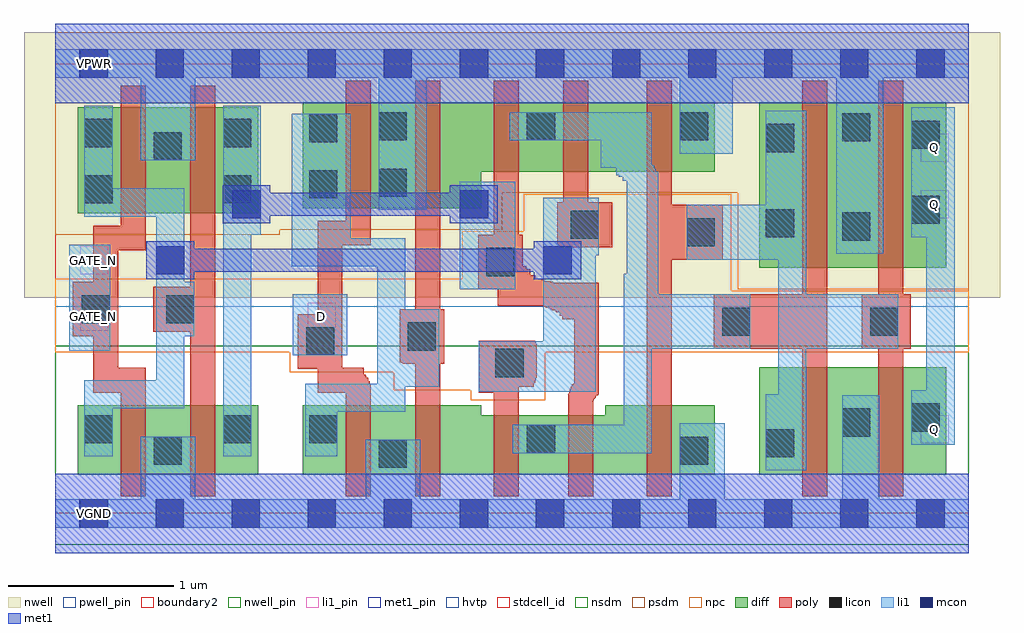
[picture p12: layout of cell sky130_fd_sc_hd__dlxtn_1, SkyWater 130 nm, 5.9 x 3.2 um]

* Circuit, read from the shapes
.subckt sky130_fd_sc_hd__dlxtn_1 D GATE_N Q VGND VNB VPB VPWR
XM1 VGND GATE_N n1 VNB sky130_fd_pr__nfet_01v8 w=0.42 l=0.15
XM2 n2 n1 VGND VNB sky130_fd_pr__nfet_01v8 w=0.42 l=0.15
XM3 VGND D n3 VNB sky130_fd_pr__nfet_01v8 w=0.42 l=0.15
XM4 n4 n3 VGND VNB sky130_fd_pr__nfet_01v8 w=0.42 l=0.15
XM5 n5 n1 n4 VNB sky130_fd_pr__nfet_01v8 w=0.36 l=0.15
XM6 n6 n2 n5 VNB sky130_fd_pr__nfet_01v8 w=0.36 l=0.15
XM7 VGND n7 n6 VNB sky130_fd_pr__nfet_01v8 w=0.42 l=0.15
XM8 VGND n5 n7 VNB sky130_fd_pr__nfet_01v8 w=0.65 l=0.15
XM9 Q n7 VGND VNB sky130_fd_pr__nfet_01v8 w=0.65 l=0.15
XM10 VPWR GATE_N n1 VPB sky130_fd_pr__pfet_01v8_hvt w=0.64 l=0.15
XM11 n2 n1 VPWR VPB sky130_fd_pr__pfet_01v8_hvt w=0.64 l=0.15
XM12 VPWR D n3 VPB sky130_fd_pr__pfet_01v8_hvt w=0.64 l=0.15
XM13 n8 n3 VPWR VPB sky130_fd_pr__pfet_01v8_hvt w=0.64 l=0.15
XM14 n5 n2 n8 VPB sky130_fd_pr__pfet_01v8_hvt w=0.42 l=0.15
XM15 n9 n1 n5 VPB sky130_fd_pr__pfet_01v8_hvt w=0.42 l=0.15
XM16 VPWR n7 n9 VPB sky130_fd_pr__pfet_01v8_hvt w=0.42 l=0.15
XM17 VPWR n5 n7 VPB sky130_fd_pr__pfet_01v8_hvt w=1 l=0.15
XM18 Q n7 VPWR VPB sky130_fd_pr__pfet_01v8_hvt w=1 l=0.15
.ends

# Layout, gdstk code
import gdstk
lib = gdstk.Library(unit=1e-6, precision=1e-09)
def R(c, l, rs):  # rectangles x0, y0, x1, y1
    for r in rs: c.add(gdstk.rectangle(r[:2], r[2:], *l))
def A(c, l, x, y, w, h, nx, ny, dx, dy):  # array of equal rectangles
    R(c, l, [(x+i*dx, y+j*dy, x+i*dx+w, y+j*dy+h) for i in range(nx) for j in range(ny)])
def P(c, l, *ps):  # polygons
    for p in ps: c.add(gdstk.Polygon(p, *l))
nwell_pin = (64, 16)
nwell = (64, 20)
diff = (65, 20)
poly = (66, 20)
licon = (66, 44)
li1_pin = (67, 16)
li1 = (67, 20)
mcon = (67, 44)
met1_pin = (68, 16)
met1 = (68, 20)
hvtp = (78, 44)
stdcell_id = (81, 4)
nsdm = (93, 44)
psdm = (94, 20)
npc = (95, 20)
pwell_pin = (122, 16)
boundary2 = (236, 0)

sky130_fd_sc_hd__dlxtn_1 = lib.new_cell('sky130_fd_sc_hd__dlxtn_1')
R(sky130_fd_sc_hd__dlxtn_1, nwell_pin, [(0.15,2.635,0.32,2.805), (0.15,2.635,0.32,2.805)])
R(sky130_fd_sc_hd__dlxtn_1, nwell, [(-0.19,1.305,5.71,2.91)])
R(sky130_fd_sc_hd__dlxtn_1, diff, [(0.135,0.235,1.225,0.655), (4.255,0.235,5.385,0.885), (4.255,1.485,5.385,2.485), (0.135,1.815,1.225,2.455)])
P(sky130_fd_sc_hd__dlxtn_1, diff, [(3.985,2.485),(1.495,2.485),(1.495,1.845),(2.575,1.845),(2.575,2.065),(3.985,2.065)],
  [(3.985,0.655),(3.325,0.655),(3.325,0.595),(2.575,0.595),(2.575,0.655),(1.495,0.655),(1.495,0.235),(3.985,0.235)])
P(sky130_fd_sc_hd__dlxtn_1, poly, [(0.545,0.88),(0.38,0.88),(0.38,1.59),(0.545,1.59),(0.545,2.585),(0.395,2.585),(0.395,1.74),(0.23,1.74),(0.23,1.4),(0.105,1.4),(0.105,1.07),(0.23,1.07),(0.23,0.73),(0.395,0.73),(0.395,0.105),(0.545,0.105)],
  [(0.965,2.585),(0.815,2.585),(0.815,1.37),(0.59,1.37),(0.59,1.1),(0.815,1.1),(0.815,0.105),(0.965,0.105)],
  [(1.905,0.785),(1.9,0.785),(1.9,0.8),(1.89,0.8),(1.89,0.82),(1.88,0.82),(1.88,0.83),(1.875,0.83),(1.875,0.84),(1.865,0.84),(1.865,0.88),(1.735,0.88),(1.735,1.62),(1.905,1.62),(1.905,2.615),(1.755,2.615),(1.755,1.77),(1.585,1.77),(1.585,1.205),(1.465,1.205),(1.465,0.875),(1.585,0.875),(1.585,0.73),(1.755,0.73),(1.755,0.105),(1.905,0.105)],
  [(4.665,2.615),(4.515,2.615),(4.515,1.325),(3.98,1.325),(3.98,0.995),(4.515,0.995),(4.515,0.105),(4.665,0.105)],
  [(5.17,1.325),(5.125,1.325),(5.125,2.615),(4.975,2.615),(4.975,1.325),(4.875,1.325),(4.875,0.995),(4.975,0.995),(4.975,0.105),(5.125,0.105),(5.125,0.995),(5.17,0.995)],
  [(3.365,1.88),(3.22,1.88),(3.22,2.615),(3.07,2.615),(3.07,1.88),(3.035,1.88),(3.035,1.63),(3.04,1.63),(3.04,1.62),(3.045,1.62),(3.045,1.61),(3.365,1.61)],
  [(2.35,1.235),(2.325,1.235),(2.325,2.615),(2.175,2.615),(2.175,1.235),(2.08,1.235),(2.08,0.915),(2.09,0.915),(2.09,0.91),(2.1,0.91),(2.1,0.905),(2.175,0.905),(2.175,0.105),(2.325,0.105),(2.325,0.905),(2.35,0.905)],
  [(2.91,1.025),(2.905,1.025),(2.905,1.035),(2.9,1.035),(2.9,1.045),(2.56,1.045),(2.56,0.73),(2.65,0.73),(2.65,0.105),(2.8,0.105),(2.8,0.765),(2.89,0.765),(2.89,0.79),(2.9,0.79),(2.9,0.805),(2.905,0.805),(2.905,0.82),(2.91,0.82)],
  [(3.285,1.395),(3.005,1.395),(3.005,1.4),(2.99,1.4),(2.99,1.405),(2.955,1.405),(2.955,1.41),(2.945,1.41),(2.945,1.415),(2.935,1.415),(2.935,1.42),(2.9,1.42),(2.9,1.44),(2.87,1.44),(2.87,1.475),(2.845,1.475),(2.845,1.495),(2.825,1.495),(2.825,1.685),(2.8,1.685),(2.8,2.615),(2.65,2.615),(2.65,1.685),(2.555,1.685),(2.555,1.355),(2.675,1.355),(2.675,1.255),(2.95,1.255),(2.95,1.25),(2.965,1.25),(2.965,1.245),(2.98,1.245),(2.98,1.24),(2.99,1.24),(2.99,1.235),(3,1.235),(3,1.23),(3.025,1.23),(3.025,1.215),(3.05,1.215),(3.05,1.195),(3.065,1.195),(3.065,1.175),(3.135,1.175),(3.135,0.785),(3.13,0.785),(3.13,0.78),(3.12,0.78),(3.12,0.765),(3.115,0.765),(3.115,0.755),(3.11,0.755),(3.11,0.74),(3.105,0.74),(3.105,0.725),(3.1,0.725),(3.1,0.105),(3.25,0.105),(3.25,0.685),(3.255,0.685),(3.255,0.695),(3.26,0.695),(3.26,0.7),(3.265,0.7),(3.265,0.71),(3.27,0.71),(3.27,0.715),(3.28,0.715),(3.28,0.72),(3.285,0.72)],
  [(4.035,1.865),(3.725,1.865),(3.725,2.615),(3.575,2.615),(3.575,0.105),(3.725,0.105),(3.725,1.535),(4.035,1.535)])
R(sky130_fd_sc_hd__dlxtn_1, licon, [(1.955,0.275,2.125,0.445), (0.595,0.295,0.765,0.465), (3.775,0.295,3.945,0.465), (4.295,0.34,4.465,0.51), (2.85,0.365,3.02,0.535), (0.175,0.425,0.345,0.595), (1.015,0.425,1.185,0.595), (1.535,0.425,1.705,0.595), (4.755,0.465,4.925,0.635), (5.175,0.495,5.345,0.665), (2.66,0.825,2.83,0.995), (1.515,0.955,1.685,1.125), (2.13,0.985,2.3,1.155), (4.03,1.075,4.2,1.245), (4.925,1.075,5.095,1.245), (0.16,1.15,0.33,1.32), (0.67,1.15,0.84,1.32), (2.605,1.435,2.775,1.605), (3.815,1.615,3.985,1.785), (4.755,1.65,4.925,1.82), (3.115,1.66,3.285,1.83), (4.295,1.67,4.465,1.84), (5.175,1.75,5.345,1.92), (0.175,1.875,0.345,2.045), (1.015,1.875,1.185,2.045), (1.535,1.905,1.705,2.075), (1.955,1.915,2.125,2.085), (0.595,2.135,0.765,2.305), (4.295,2.185,4.465,2.355), (5.175,2.205,5.345,2.375), (0.175,2.215,0.345,2.385), (1.015,2.215,1.185,2.385), (1.535,2.245,1.705,2.415), (4.755,2.25,4.925,2.42), (1.955,2.255,2.125,2.425), (2.85,2.255,3.02,2.425), (3.775,2.255,3.945,2.425)])
R(sky130_fd_sc_hd__dlxtn_1, li1_pin, [(5.23,0.425,5.4,0.595), (0.15,1.105,0.32,1.275), (1.525,1.105,1.695,1.275), (0.15,1.445,0.32,1.615), (5.23,1.785,5.4,1.955), (5.23,2.125,5.4,2.295)])
R(sky130_fd_sc_hd__dlxtn_1, li1, [(1.435,0.955,1.765,1.325), (0.085,0.985,0.33,1.625), (2.445,1.355,2.78,2.005)])
P(sky130_fd_sc_hd__dlxtn_1, li1, [(0.84,1.4),(0.78,1.4),(0.78,1.965),(0.345,1.965),(0.345,2.465),(0.175,2.465),(0.175,1.795),(0.61,1.795),(0.61,0.805),(0.175,0.805),(0.175,0.345),(0.345,0.345),(0.345,0.635),(0.78,0.635),(0.78,1.07),(0.84,1.07)],
  [(1.24,2.465),(1.015,2.465),(1.015,0.345),(1.185,0.345),(1.185,1.685),(1.24,1.685)],
  [(2.32,1.235),(2.115,1.235),(2.115,1.665),(1.785,1.665),(1.785,2.415),(1.43,2.415),(1.43,1.495),(1.945,1.495),(1.945,0.785),(1.51,0.785),(1.51,0.345),(1.705,0.345),(1.705,0.615),(2.115,0.615),(2.115,0.765),(2.32,0.765)],
  [(5.435,2.455),(5.175,2.455),(5.175,1.67),(5.265,1.67),(5.265,0.745),(5.175,0.745),(5.175,0.415),(5.435,0.415)],
  [(5.52,2.805),(0,2.805),(0,2.635),(0.515,2.635),(0.515,2.135),(0.845,2.135),(0.845,2.635),(1.955,2.635),(1.955,1.835),(2.245,1.835),(2.245,2.635),(3.775,2.635),(3.775,2.175),(4.095,2.175),(4.095,2.635),(4.72,2.635),(4.72,1.57),(5.005,1.57),(5.005,2.635),(5.52,2.635)],
  [(5.095,1.325),(4.54,1.325),(4.54,2.435),(4.295,2.435),(4.295,1.865),(3.815,1.865),(3.815,1.535),(4.37,1.535),(4.37,0.72),(4.295,0.72),(4.295,0.26),(4.54,0.26),(4.54,0.995),(5.095,0.995)],
  [(3.285,1.91),(2.95,1.91),(2.95,1.04),(2.56,1.04),(2.56,0.735),(3.265,0.735),(3.265,1.56),(3.285,1.56)],
  [(5.52,0.085),(4.98,0.085),(4.98,0.715),(4.755,0.715),(4.755,0.085),(4.045,0.085),(4.045,0.545),(3.775,0.545),(3.775,0.085),(2.205,0.085),(2.205,0.445),(1.875,0.445),(1.875,0.085),(0.845,0.085),(0.845,0.465),(0.515,0.465),(0.515,0.085),(0,0.085),(0,-0.085),(5.52,-0.085)],
  [(4.2,1.325),(3.645,1.325),(3.645,2.065),(3.63,2.065),(3.63,2.085),(3.62,2.085),(3.62,2.105),(3.605,2.105),(3.605,2.425),(2.745,2.425),(2.745,2.255),(3.295,2.255),(3.295,2.09),(3.39,2.09),(3.39,2.045),(3.405,2.045),(3.405,2.035),(3.43,2.035),(3.43,2.01),(3.455,2.01),(3.455,1.45),(3.435,1.45),(3.435,0.535),(2.765,0.535),(2.765,0.365),(3.605,0.365),(3.605,0.995),(4.2,0.995)])
A(sky130_fd_sc_hd__dlxtn_1, mcon, 0.145, -0.085, 0.17, 0.17, 12, 2, 0.46, 2.72)
R(sky130_fd_sc_hd__dlxtn_1, mcon, [(0.61,1.445,0.78,1.615), (2.95,1.445,3.12,1.615), (1.07,1.785,1.24,1.955), (2.445,1.785,2.615,1.955)])
R(sky130_fd_sc_hd__dlxtn_1, met1_pin, [(0.15,-0.085,0.32,0.085), (0.15,2.635,0.32,2.805)])
P(sky130_fd_sc_hd__dlxtn_1, met1, [(2.675,1.985),(2.385,1.985),(2.385,1.94),(1.3,1.94),(1.3,1.985),(1.01,1.985),(1.01,1.755),(1.3,1.755),(1.3,1.8),(2.385,1.8),(2.385,1.755),(2.675,1.755)],
  [(3.18,1.645),(2.89,1.645),(2.89,1.6),(0.84,1.6),(0.84,1.645),(0.55,1.645),(0.55,1.415),(0.84,1.415),(0.84,1.46),(2.89,1.46),(2.89,1.415),(3.18,1.415)])
R(sky130_fd_sc_hd__dlxtn_1, hvtp, [(0,1.25,5.52,2.72)])
R(sky130_fd_sc_hd__dlxtn_1, stdcell_id, [(0,0,5.52,2.72)])
R(sky130_fd_sc_hd__dlxtn_1, nsdm, [(0,-0.19,5.52,1.015)])
P(sky130_fd_sc_hd__dlxtn_1, psdm, [(5.52,2.91),(0,2.91),(0,1.685),(1.355,1.685),(1.355,1.715),(2.7,1.715),(2.7,1.94),(4.125,1.94),(4.125,1.355),(5.52,1.355)])
P(sky130_fd_sc_hd__dlxtn_1, npc, [(5.52,1.345),(4.085,1.345),(4.085,1.93),(2.83,1.93),(2.83,1.705),(2.46,1.705),(2.46,1.42),(0,1.42),(0,0.975),(1.415,0.975),(1.415,0.855),(2.045,0.855),(2.045,0.745),(2.51,0.745),(2.51,0.685),(2.96,0.685),(2.96,0.975),(5.52,0.975)])
R(sky130_fd_sc_hd__dlxtn_1, pwell_pin, [(0.15,-0.085,0.32,0.085), (0.15,-0.085,0.32,0.085)])
R(sky130_fd_sc_hd__dlxtn_1, boundary2, [(0,0,5.52,2.72)])
sky130_fd_sc_hd__dlxtn_1.add(gdstk.FlexPath([(0,2.72),(5.52,2.72)], 0.48, ends="flush", simple_path=True, layer=68, datatype=20))  # met1
sky130_fd_sc_hd__dlxtn_1.add(gdstk.FlexPath([(0,0),(5.52,0)], 0.48, ends="flush", simple_path=True, layer=68, datatype=20))  # met1
sky130_fd_sc_hd__dlxtn_1.add(gdstk.Label('D', (1.61,1.19), layer=67, texttype=5))
sky130_fd_sc_hd__dlxtn_1.add(gdstk.Label('GATE_N', (0.23,1.19), layer=67, texttype=5))
sky130_fd_sc_hd__dlxtn_1.add(gdstk.Label('Q', (5.315,1.87), layer=67, texttype=5))
sky130_fd_sc_hd__dlxtn_1.add(gdstk.Label('GATE_N', (0.23,1.53), layer=67, texttype=5))
sky130_fd_sc_hd__dlxtn_1.add(gdstk.Label('Q', (5.315,2.21), layer=67, texttype=5))
sky130_fd_sc_hd__dlxtn_1.add(gdstk.Label('Q', (5.315,0.51), layer=67, texttype=5))
sky130_fd_sc_hd__dlxtn_1.add(gdstk.Label('VGND', (0.235,0), layer=68, texttype=5))
sky130_fd_sc_hd__dlxtn_1.add(gdstk.Label('VPWR', (0.235,2.72), layer=68, texttype=5))
sky130_fd_sc_hd__dlxtn_1.add(gdstk.Label('VPB', (0.235,2.72), layer=64, texttype=5))
sky130_fd_sc_hd__dlxtn_1.add(gdstk.Label('VPB', (0.235,2.72), layer=64, texttype=5))
sky130_fd_sc_hd__dlxtn_1.add(gdstk.Label('VNB', (0.235,0), layer=64, texttype=59))
sky130_fd_sc_hd__dlxtn_1.add(gdstk.Label('VNB', (0.235,0), layer=64, texttype=59))
sky130_fd_sc_hd__dlxtn_1.add(gdstk.Label('dlxtn_1', (0,0), layer=83, texttype=44))

lib.write_gds('sky130_fd_sc_hd__dlxtn_1.gds')
